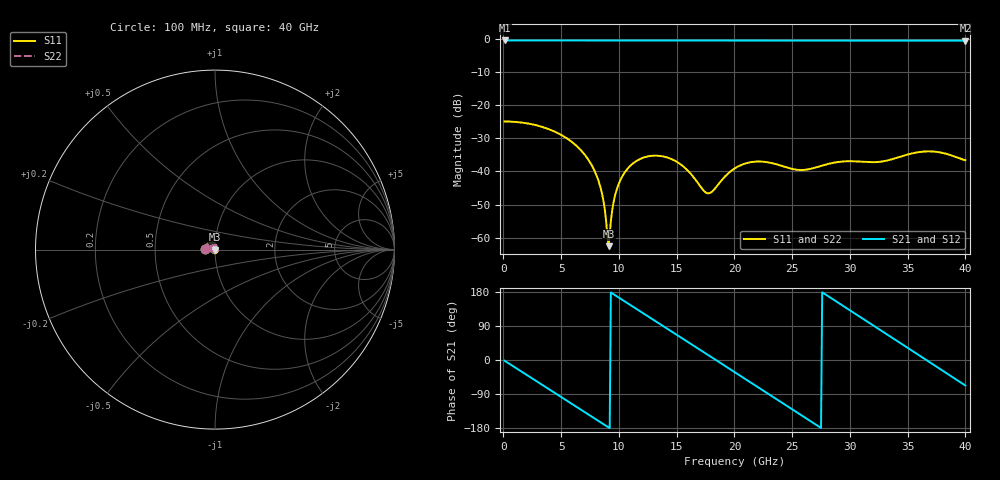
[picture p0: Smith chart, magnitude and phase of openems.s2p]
! T_ts6_ms_10: Microstrip L1, ThunderScope stack, w 0.265 mm, 10 mm
! stackup: ThunderScope Rev5.3 6-layer (FR408HR / FR-4, from the board file)
! ports: 1 near A, 2 far A
! openEMS 0.37.0, staircase, fine mesh (dfine 0.0175 mm), 650573 cells
# Hz S RI R 50
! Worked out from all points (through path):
!   400 points, 100 MHz to 40 GHz, reference 50 ohm
!   highest |S21| = -0.51 dB at 100 MHz (marker M1); lowest = -0.6 dB at 40 GHz (marker M2)
!   group delay of S21, straight-line fit = 54.6 ps
!   lowest |S11| = -62.6 dB at 9.1 GHz (marker M3), VSWR 1.00, Z = 50 - j0.0686 ohm
!   |S11| at or under -10 dB: start of sweep to end of sweep
!   |S22| runs from -62.6 to -24.9 dB; largest |S21 - S12| = 0
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1e8  -0.0566 0.00153  0.9427 -0.0322  0.9427 -0.0322  -0.0566 0.00153
1.8e9  -0.0474 0.0255  0.7707 -0.5434  0.7707 -0.5434  -0.0474 0.0255
3.7e9  -0.023 0.0384  0.2862 -0.8983  0.2862 -0.8983  -0.023 0.0384
6.8e9  0.0078 0.0184  -0.6415 -0.6899  -0.6415 -0.6899  0.0078 0.0184
8.4e9  0.00484 0.00311  -0.9061 -0.2565  -0.9061 -0.2565  0.00484 0.00311
8.8e9  0.00238 0.000645  -0.9325 -0.1308  -0.9325 -0.1308  0.00238 0.000645
9.1e9  0.00029 -0.000686  -0.9409 -0.0348  -0.9409 -0.0348  0.00029 -0.000686
9.5e9  -0.00266 -0.00173  -0.9369 0.0936  -0.9369 0.0936  -0.00266 -0.00173
1.03e10  -0.00837 -0.00134  -0.8768 0.3428  -0.8768 0.3428  -0.00837 -0.00134
1.34e10  -0.0091 0.0146  -0.1301 0.9322  -0.1301 0.9322  -0.0091 0.0146
1.51e10  0.00224 0.0134  0.4035 0.8501  0.4035 0.8501  0.00224 0.0134
1.71e10  0.00577 0.000256  0.8498 0.4029  0.8498 0.4029  0.00577 0.000256
1.79e10  0.00224 -0.00417  0.927 0.1578  0.927 0.1578  0.00224 -0.00417
2.01e10  -0.0111 -0.00187  0.7832 -0.5195  0.7832 -0.5195  -0.0111 -0.00187
2.33e10  5.15e-05 0.0132  -0.1067 -0.9333  -0.1067 -0.9333  5.15e-05 0.0132
2.67e10  0.00573 -0.00943  -0.9004 -0.2653  -0.9004 -0.2653  0.00573 -0.00943
2.85e10  -0.00911 -0.00985  -0.8863 0.3075  -0.8863 0.3075  -0.00911 -0.00985
3.05e10  -0.0125 0.00663  -0.4873 0.8011  -0.4873 0.8011  -0.0125 0.00663
3.34e10  0.0132 0.00687  0.4128 0.8412  0.4128 0.8412  0.0132 0.00687
3.51e10  0.0138 -0.0117  0.8101 0.4701  0.8101 0.4701  0.0138 -0.0117
3.67e10  -0.00208 -0.0199  0.9358 -0.0272  0.9358 -0.0272  -0.00208 -0.0199
4e10  -0.0104 0.0105  0.3598 -0.8632  0.3598 -0.8632  -0.0104 0.0105
